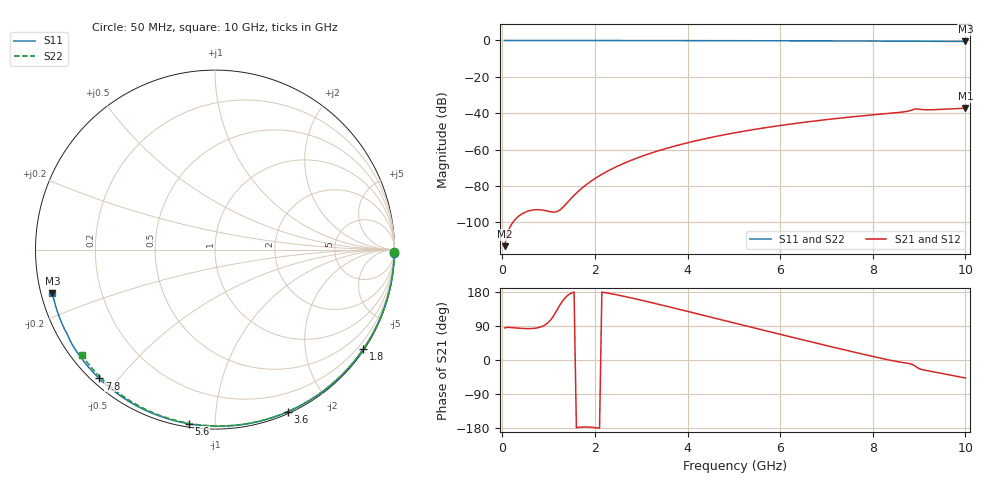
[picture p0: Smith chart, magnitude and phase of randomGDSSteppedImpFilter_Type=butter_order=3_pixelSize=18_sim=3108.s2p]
! freq	dB(S11)	phase(S11)	dB(S12)	phase(S12)
!  dB(S21)	phase(S21)	dB(S22)	phase(S22)
!S-par simulation data
#  GHz  S  DB  R 50
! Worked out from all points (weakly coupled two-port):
!   200 points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, 50 MHz to 10 GHz, reference 50 ohm
!   highest |S21| = -37.22 dB at 10 GHz (marker M1); lowest = -113.0 dB at 50 MHz (marker M2)
!   lowest |S11| = -0.6 dB at 10 GHz (marker M3), VSWR 31.19, Z = 1.63 - j6.6 ohm
!   |S11| at or under -10 dB: nowhere
!   |S22| runs from -0.5 to 0.0 dB; largest |S21 - S12| = 0
!   S11 on the Smith chart (normalised r, x): 50 MHz: open; 1.8 GHz: 0.03, -3.28; 3.6 GHz: 0.02, -1.54; 5.6 GHz: 0.02, -0.86; 7.8 GHz: 0.02, -0.45; 10 GHz: 0.03, -0.13
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0.05  -0.01 -1.0  -113.04 84.6  -113.04 84.6  -0.01 -0.8
0.85  -0.02 -16.2  -93.14 88.2  -93.14 88.2  -0.02 -13.9
1.3  -0.03 -24.6  -91.90 155.5  -91.90 155.5  -0.03 -21.1
1.75  -0.04 -33.0  -80.54 -176.7  -80.54 -176.7  -0.04 -28.3
1.8  -0.04 -33.9  -79.52 -176.6  -79.52 -176.6  -0.04 -29.1
2.1  -0.05 -39.4  -74.31 -179.9  -74.31 -179.9  -0.04 -33.8
2.5  -0.06 -46.6  -68.95 171.4  -68.95 171.4  -0.05 -40.0
2.9  -0.07 -53.7  -64.70 160.7  -64.70 160.7  -0.06 -46.2
3.4  -0.08 -62.4  -60.40 146.3  -60.40 146.3  -0.07 -53.8
3.6  -0.09 -65.9  -58.91 140.3  -58.91 140.3  -0.08 -56.8
4.3  -0.11 -77.7  -54.44 119.2  -54.44 119.2  -0.09 -67.0
5.05  -0.14 -89.9  -50.62 96.4  -50.62 96.4  -0.12 -77.7
5.6  -0.16 -98.6  -48.26 79.7  -48.26 79.7  -0.14 -85.3
6.15  -0.19 -107.1  -46.21 63.2  -46.21 63.2  -0.16 -92.7
6.7  -0.22 -115.5  -44.40 46.9  -44.40 46.9  -0.19 -100.0
7.8  -0.31 -131.9  -41.36 15.0  -41.36 15.0  -0.27 -114.2
8.35  -0.36 -140.1  -40.08 0.1  -40.08 0.1  -0.31 -121.1
8.7  -0.39 -145.4  -39.14 -7.6  -39.14 -7.6  -0.34 -125.5
8.95  -0.45 -149.1  -37.64 -19.1  -37.64 -19.1  -0.36 -128.6
9.1  -0.46 -151.2  -38.06 -26.3  -38.06 -26.3  -0.37 -130.5
9.25  -0.47 -153.5  -38.10 -29.7  -38.10 -29.7  -0.39 -132.4
10  -0.56 -164.9  -37.22 -47.5  -37.22 -47.5  -0.48 -141.8
